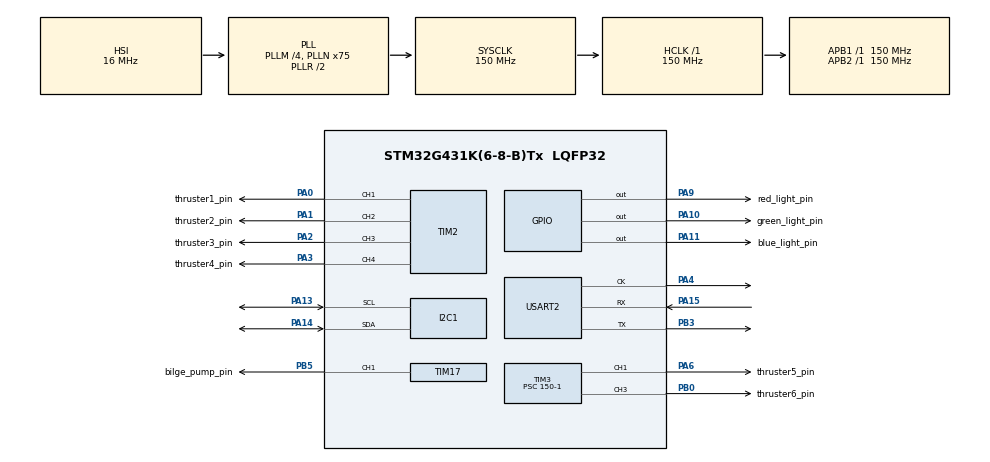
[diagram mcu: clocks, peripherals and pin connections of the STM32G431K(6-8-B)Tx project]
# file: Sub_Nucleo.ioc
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FREERTOS.Tasks01=defaultTask,24,128,StartDefaultTask,Default,NULL,Dynamic,NULL,NULL
I2C1.Timing=0x20C0EDFF
Mcu.Family=STM32G4
Mcu.Name=STM32G431K(6-8-B)Tx
Mcu.Package=LQFP32
NVIC.PriorityGroup=NVIC_PRIORITYGROUP_4
PA0.GPIO_Label=thruster1_pin
PA0.Signal=S_TIM2_CH1
PA1.GPIO_Label=thruster2_pin
PA1.Signal=S_TIM2_CH2
PA10.GPIO_Label=green_light_pin
PA10.Signal=GPIO_Output
PA11.GPIO_Label=blue_light_pin
PA11.Signal=GPIO_Output
PA13.Mode=I2C
PA13.Signal=I2C1_SCL
PA14.Mode=I2C
PA14.Signal=I2C1_SDA
PA15.Mode=Synchronous
PA15.Signal=USART2_RX
PA2.GPIO_Label=thruster3_pin
PA2.Signal=S_TIM2_CH3
PA3.GPIO_Label=thruster4_pin
PA3.Signal=S_TIM2_CH4
PA4.Mode=Synchronous
PA4.Signal=USART2_CK
PA6.GPIO_Label=thruster5_pin
PA6.Signal=S_TIM3_CH1
PA9.GPIO_Label=red_light_pin
PA9.Signal=GPIO_Output
PB0.GPIO_Label=thruster6_pin
PB0.Signal=S_TIM3_CH3
PB3.Mode=Synchronous
PB3.Signal=USART2_TX
PB5.GPIO_Label=bilge_pump_pin
PB5.Signal=S_TIM17_CH1
ProjectManager.HeapSize=0x200
ProjectManager.StackSize=0x400
ProjectManager.TargetToolchain=STM32CubeIDE
RCC.ADC12Freq_Value=150000000
RCC.AHBFreq_Value=150000000
RCC.APB1Freq_Value=150000000
RCC.APB1TimFreq_Value=150000000
RCC.APB2Freq_Value=150000000
RCC.APB2TimFreq_Value=150000000
RCC.CortexFreq_Value=150000000
RCC.EXTERNAL_CLOCK_VALUE=12288000
RCC.HCLKFreq_Value=150000000
RCC.HSE_VALUE=8000000
RCC.HSI48_VALUE=48000000
RCC.HSI_VALUE=16000000
RCC.LSE_VALUE=32768
RCC.PLLM=RCC_PLLM_DIV4
RCC.PLLN=75
RCC.SYSCLKFreq_VALUE=150000000
RCC.SYSCLKSource=RCC_SYSCLKSOURCE_PLLCLK
RCC.USBFreq_Value=150000000
RCC.VCOOutputFreq_Value=300000000
SH.S_TIM17_CH1.0=TIM17_CH1,PWM Generation1 CH1
SH.S_TIM2_CH1.0=TIM2_CH1,PWM Generation1 CH1
SH.S_TIM2_CH2.0=TIM2_CH2,PWM Generation2 CH2
SH.S_TIM2_CH3.0=TIM2_CH3,PWM Generation3 CH3
SH.S_TIM2_CH4.0=TIM2_CH4,PWM Generation4 CH4
SH.S_TIM3_CH1.0=TIM3_CH1,PWM Generation1 CH1
SH.S_TIM3_CH3.0=TIM3_CH3,PWM Generation3 CH3
TIM17.Channel=TIM_CHANNEL_1
TIM2.Channel-PWM\ Generation1\ CH1=TIM_CHANNEL_1
TIM2.Channel-PWM\ Generation2\ CH2=TIM_CHANNEL_2
TIM2.Channel-PWM\ Generation3\ CH3=TIM_CHANNEL_3
TIM2.Channel-PWM\ Generation4\ CH4=TIM_CHANNEL_4
TIM3.Channel-PWM\ Generation1\ CH1=TIM_CHANNEL_1
TIM3.Channel-PWM\ Generation3\ CH3=TIM_CHANNEL_3
TIM3.Prescaler=150-1
USART2.VirtualMode-Synchronous=VM_SYNC
VP_FREERTOS_VS_CMSIS_V2.Mode=CMSIS_V2
VP_SYS_VS_DBSignals.Mode=DisableDeadBatterySignals
VP_TIM17_VS_ClockSourceINT.Mode=Enable_Timer
board=custom

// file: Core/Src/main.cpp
/* USER CODE BEGIN Header */
/**
  ******************************************************************************
  * @file           : main.c
  * @brief          : Main program body
  ******************************************************************************
  * @attention
  *
  * <h2><center>&copy; Copyright (c) 2020 STMicroelectronics.
  * All rights reserved.</center></h2>
  *
  * This software component is licensed by ST under BSD 3-Clause license,
  * the "License"; You may not use this file except in compliance with the
  * License. You may obtain a copy of the License at:
  *                        opensource.org/licenses/BSD-3-Clause
  *
  ******************************************************************************
  */
/* USER CODE END Header */
#include "main.h"
//#include "usb_host.h"
#include <stdint.h>
#include "MS5837.h"
#include "stm32g4xx_hal.h"
#include <std_msgs/UInt16.h>
#include <std_msgs/UInt8.h>
#include "ros.h"
/* USER CODE BEGIN Includes */
extern "C"{
#include "Servo/Servo.h"
#include "functions.h"
#include "cmsis_os.h"
#include "i2c.h"
#include "tim.h"
#include "usart.h"
#include "gpio.h"

}

void thrustersControl(void *argument);
void pumpControlTask(void *argument);
void pressureMeasure(void *argument);
void hydrophoneTask(void *argument);

//X8R Receiver channels
float channel4; //perpendicular axis lever - rotation
float channel2; //parallel axis lever - displacement
float channel5; //choice lever

//X8R auxiliar variables
float channel4Read1; //First captured value to measure pulse width
float channel4Read2;//Second captured value to measure pulse width
uint8_t channel4Status = 0;//Defines if waiting the first or second read

float channel2Read1; //First captured value to measure pulse width
float channel2Read2;//Second captured value to measure pulse width
uint8_t channel2Status = 0;//Defines if waiting the first or second read

float channel5Read1; //First captured value to measure pulse width
float channel5Read2;//Second captured value to measure pulse width
uint8_t channel5Status = 0;//Defines if waiting the first or second read

//Thrusters declaration
uint16_t thrusterRight = 0;
uint16_t thrusterLeft = 1;

//autonomous navigation ints
int powerR = 1500;
int powerL = 1500;

//Depth sensor variables
MS5837 depth_sensor;
float sensor_pressure = 0;
float sensor_temperature = 0;
float sensor_depth = 0;
const uint8_t MODEL = 1;
const float DENSITY = 1029;

ros::NodeHandle  nh;

void right_cb( const std_msgs::UInt16& cmd_msg){
    powerR = cmd_msg.data; //1100-1900
}

void left_cb( const std_msgs::UInt16& cmd_msg){
    powerL = cmd_msg.data; //1100-1900
}

std_msgs::UInt8 flag;
ros::Subscriber<std_msgs::UInt16> rsub("rpwm", right_cb);
ros::Subscriber<std_msgs::UInt16> lsub("lpwm", left_cb);
ros::Publisher stm32("stm32", &flag);
/* USER CODE END PV */
/* Private includes ----------------------------------------------------------*/
/* USER CODE BEGIN Includes */

/* USER CODE END Includes */

I2C_HandleTypeDef hi2c1;

TIM_HandleTypeDef htim2;
TIM_HandleTypeDef htim3;
TIM_HandleTypeDef htim4;
TIM_HandleTypeDef htim8;
TIM_HandleTypeDef htim17;

USART_HandleTypeDef husart2;

/*const osThreadAttr_t defaultTask_attributes = {
  .name = "defaultTask",
  .priority = (osPriority_t) osPriorityNormal,
  .stack_size = 128 * 4
};*/

void SystemClock_Config(void);

/* USER CODE BEGIN 0 */
/*[[noreturn]] void boatUpdate_Task(const void *){
    while(true){

        vTaskDelay(pdMS_TO_TICKS(1));
    }
}*/
/* USER CODE END 0 */

int main(void){

	/* MCU Configuration--------------------------------------------------------*/

	/* Reset of all peripherals, Initializes the Flash interface and the Systick. */
	HAL_Init();

  	/* Configure the system clock */
  	SystemClock_Config();

  	  MX_GPIO_Init();
  	  MX_TIM3_Init();
  	  MX_I2C1_Init();
  	  MX_USART2_Init();
  	  MX_TIM17_Init();
  	  MX_TIM2_Init();
  	/* CReación de las tareas.
  	 * Notas:
  	 * - Para agregar o remover tareas se deberpa hacer de forma manual
  	 *   siguiendo el formato mostrado a continuación.
  	 * - Las funciones de las tareas se deben declarar al inicio del código
  	 *   y definirse al final del mismo
  	 * - No es necesario declarar tareas en CubeMX, por lo que se debe evitar
  	 *   hacerlo, pues podría alterar el formato de las tareas previamente
  	 *   declaradas
  	 * - No alterar la prioridad ni el periodo de las tareas directamente en
  	 * 	 la declaración de estas, a menos se deban desarrollar tareas críticas
  	 * 	 en el tiempo.
  	 * - EL periodo de las tareas se debe establecer en las funciones de las
  	 *   tareas usando el comando osDelay(). Evitar en la medida de lo posible
  	 *   periodos coincidentes en las tareas*/

  	  //Inicialización de componentes
  	  depth_sensor.init();
  	  dept_sensor.setModel(MODEL);
  	  depth_sensor.setFluidDensity(DENSITY);
  	  /* creation of thrustersControl */
  	  osKernelInitialize();
  	  osThreadNew(thrustersControl,NULL,NULL);
  	  /* creation of pumpControlTask */
  	  osThreadNew(pumpControlTask,NULL,NULL);

  	  /* creation of pressureMeasure */

  	  osThreadNew(pressureMeasure,NULL,NULL);
  	  /* creation of hydrophoneTask */

  	  osThreadNew(hydrophoneTask,NULL,NULL);
  	  /* Init scheduler */
  	  osKernelStart();
    /* We should never get here as control is now taken by the scheduler */
    /* Infinite loop */
    /* USER CODE BEGIN WHILE */
  	while (1){
  		select(channel4, channel2, channel5, thrusterRight, thrusterLeft, powerR, powerL);
  		flag.data = 1;
  		stm32.publish( &flag );
  		nh.spinOnce();
	    HAL_Delay(1);
    }
}
void SystemClock_Config(void)
{
  RCC_OscInitTypeDef RCC_OscInitStruct = {0};
  RCC_ClkInitTypeDef RCC_ClkInitStruct = {0};
  RCC_PeriphCLKInitTypeDef PeriphClkInit = {0};

  /** Configure the main internal regulator output voltage
  */
  HAL_PWREx_ControlVoltageScaling(PWR_REGULATOR_VOLTAGE_SCALE1);
  /** Initializes the RCC Oscillators according to the specified parameters
  * in the RCC_OscInitTypeDef structure.
  */
  RCC_OscInitStruct.OscillatorType = RCC_OSCILLATORTYPE_HSI;
  RCC_OscInitStruct.HSIState = RCC_HSI_ON;
  RCC_OscInitStruct.HSICalibrationValue = RCC_HSICALIBRATION_DEFAULT;
  RCC_OscInitStruct.PLL.PLLState = RCC_PLL_ON;
  RCC_OscInitStruct.PLL.PLLSource = RCC_PLLSOURCE_HSI;
  RCC_OscInitStruct.PLL.PLLM = RCC_PLLM_DIV4;
  RCC_OscInitStruct.PLL.PLLN = 75;
  RCC_OscInitStruct.PLL.PLLP = RCC_PLLP_DIV2;
  RCC_OscInitStruct.PLL.PLLQ = RCC_PLLQ_DIV2;
  RCC_OscInitStruct.PLL.PLLR = RCC_PLLR_DIV2;
  if (HAL_RCC_OscConfig(&RCC_OscInitStruct) != HAL_OK)
  {
    Error_Handler();
  }
  /** Initializes the CPU, AHB and APB buses clocks
  */
  RCC_ClkInitStruct.ClockType = RCC_CLOCKTYPE_HCLK|RCC_CLOCKTYPE_SYSCLK
                              |RCC_CLOCKTYPE_PCLK1|RCC_CLOCKTYPE_PCLK2;
  RCC_ClkInitStruct.SYSCLKSource = RCC_SYSCLKSOURCE_PLLCLK;
  RCC_ClkInitStruct.AHBCLKDivider = RCC_SYSCLK_DIV1;
  RCC_ClkInitStruct.APB1CLKDivider = RCC_HCLK_DIV1;
  RCC_ClkInitStruct.APB2CLKDivider = RCC_HCLK_DIV1;

  if (HAL_RCC_ClockConfig(&RCC_ClkInitStruct, FLASH_LATENCY_4) != HAL_OK)
  {
    Error_Handler();
  }
  /** Initializes the peripherals clocks
  */
  PeriphClkInit.PeriphClockSelection = RCC_PERIPHCLK_USART2|RCC_PERIPHCLK_I2C1;
  PeriphClkInit.Usart2ClockSelection = RCC_USART2CLKSOURCE_PCLK1;
  PeriphClkInit.I2c1ClockSelection = RCC_I2C1CLKSOURCE_PCLK1;
  if (HAL_RCCEx_PeriphCLKConfig(&PeriphClkInit) != HAL_OK)
  {
    Error_Handler();
  }
}

void thrustersControl(void *argument)
{
  /* EScribir aquí todo el código relacionado con el control de los motores
   * Nota: Recomiendo mover los controles de los servos del archivo "unctions.h"
   * para que se ejecuten en tiempo real. BAsarse en la librería "Servo.h"
   * NO CAMBIAR LAS CONFIGURACIONES DE LOS MOTORES EN ESTE ESPACIO.
   * En caso de requerir cambiar configuraciones notificarlo y hacerlo en el archivo
   * "Servo.cfg"*/
  /* Infinite loop */
  for(;;)
  {
    osDelay(1);
  }
  /* USER CODE END 5 */
}

void pumpControlTask(void *argument)
{
  /* En este espacio se controlará lo relacionado con la bomba.
   * Nota: El control de la bomba es similar a los motores, con la diferencia de que
   * en este espacio se permite configurar los puertos de la bomba, pues es necesario
   * cambiar su dirección de giro y su Duty Cycle, para que esta absorba o
   * expulse los marcadores.
   * REVISIÓN: Al ser una tarea controlada de manera externa, se debe considerar
   * migrar de RTOS a maneja de interrupciones
   *  */
  /* Infinite loop */
  for(;;)
  {
    osDelay(1);
  }
  /* USER CODE END StartTask02 */
}

void pressureMeasure(void *argument)
{
  /* Lectura del sensor de presión, la cual debe realizarse de manera constante
   * Nota: La lectura de datos se realiza mediante protocolo I2C, por lo que el
   * código no debería ser complicado de realizar. Investigar si ya hay una
   * libería existente que podamos usar.*/
  /* Infinite loop */
  for(;;)
  {
	depth_sensor.read();
	sensor_depth = dept_sensor.depth();
	sensor_temperature = dept_sensor.temperature();
	sensor_pressure = depth_sensor.pressure();
    osDelay(100);
  }
  /* USER CODE END pressureMeasure */
}

void hydrophoneTask(void *argument)
{
  for(;;)
  {
    osDelay(1);
  }
}

void Error_Handler(void)
{
  __disable_irq();
  while (1)
  {
  }
}

/************************ (C) COPYRIGHT STMicroelectronics *****END OF FILE****/

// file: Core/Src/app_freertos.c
/* USER CODE BEGIN Header */
/**
  ******************************************************************************
  * File Name          : app_freertos.c
  * Description        : Code for freertos applications
  ******************************************************************************
  * @attention
  *
  * <h2><center>&copy; Copyright (c) 2020 STMicroelectronics.
  * All rights reserved.</center></h2>
  *
  * This software component is licensed by ST under Ultimate Liberty license
  * SLA0044, the "License"; You may not use this file except in compliance with
  * the License. You may obtain a copy of the License at:
  *                             www.st.com/SLA0044
  *
  ******************************************************************************
  */
/* USER CODE END Header */

#include "FreeRTOS.h"
#include "task.h"
#include "main.h"
#include "cmsis_os.h"

/* Definitions for defaultTask */
osThreadId_t defaultTaskHandle;
const osThreadAttr_t defaultTask_attributes = {
  .name = "defaultTask",
  .priority = (osPriority_t) osPriorityNormal,
  .stack_size = 128 * 4
};

void StartDefaultTask(void *argument);

void MX_FREERTOS_Init(void); /* (MISRA C 2004 rule 8.1) */

void MX_FREERTOS_Init(void) {

  /* Create the thread(s) */
  /* creation of defaultTask */
  defaultTaskHandle = osThreadNew(StartDefaultTask, NULL, &defaultTask_attributes);

}

void StartDefaultTask(void *argument)
{
  for(;;)
  {
    osDelay(1);
  }
}

/************************ (C) COPYRIGHT STMicroelectronics *****END OF FILE****/
